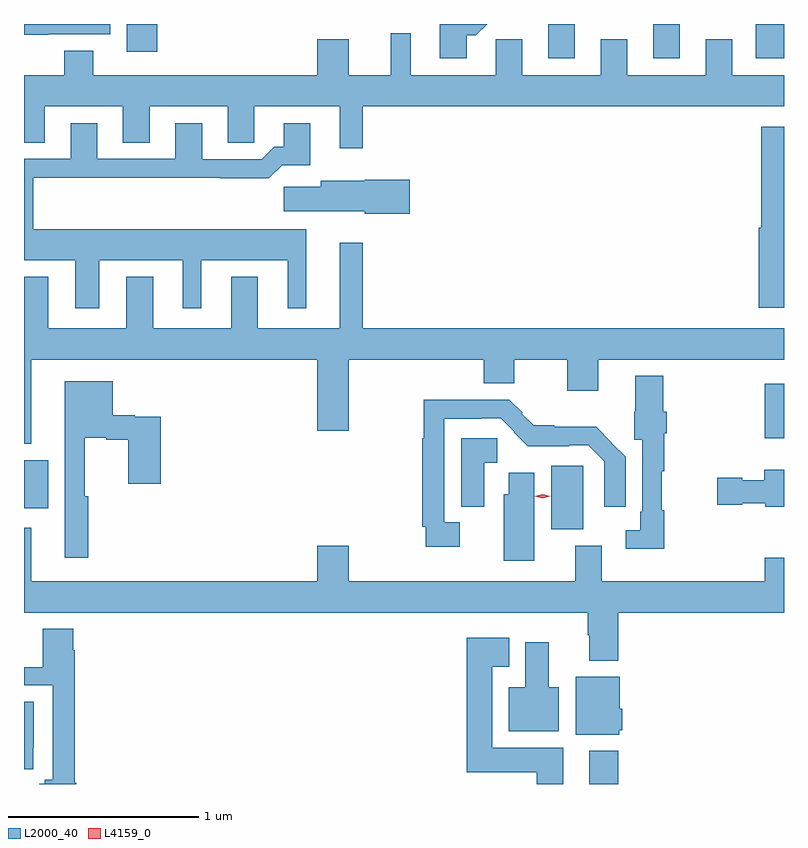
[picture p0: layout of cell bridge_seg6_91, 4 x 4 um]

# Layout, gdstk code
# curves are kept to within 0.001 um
import gdstk
lib = gdstk.Library(unit=1e-6, precision=1e-09)
def R(c, l, rs):  # rectangles x0, y0, x1, y1
    for r in rs: c.add(gdstk.rectangle(r[:2], r[2:], *l))
def P(c, l, *ps):  # polygons
    for p in ps: c.add(gdstk.Polygon(p, *l))
L2000_40 = (2000, 40)
L4159_0 = (4159, 0)

bridge_seg6_91 = lib.new_cell('bridge_seg6_91')
R(bridge_seg6_91, L2000_40, [(681.923,917.13,682.076,917.305), (681.722,918.47,681.892,918.804), (678.948,918.581,679.075,918.835), (682.847,918.95,682.948,919.237), (681.707,920.949,681.847,921.13), (682.259,920.949,682.399,921.13), (682.799,920.949,682.948,921.13), (679.49,920.985,679.649,921.13)])
P(bridge_seg6_91, L2000_40, [(679.076,921.075),(679.401,921.075),(679.401,921.13),(678.948,921.13),(678.948,921.074),(679.076,921.074)],
  [(681.277,921.071),(681.326,921.071),(681.385,921.13),(681.137,921.13),(681.137,920.949),(681.277,920.949)],
  [(680.731,920.696),(682.948,920.696),(682.948,920.86),(682.675,920.86),(682.675,921.05),(682.535,921.05),(682.535,920.86),(682.123,920.86),(682.123,921.05),(681.983,921.05),(681.983,920.86),(681.571,920.86),(681.571,921.05),(681.432,921.05),(681.432,920.86),(680.983,920.86),(680.983,921.082),(680.879,921.082),(680.879,920.86),(680.656,920.86),(680.656,921.049),(680.492,921.049),(680.492,920.86),(679.312,920.86),(679.312,920.99),(679.16,920.99),(679.16,920.86),(678.948,920.86),(678.948,920.506),(679.057,920.506),(679.057,920.696),(679.469,920.696),(679.469,920.506),(679.609,920.506),(679.609,920.696),(680.021,920.696),(680.021,920.506),(680.16,920.506),(680.16,920.696),(680.609,920.696),(680.609,920.475),(680.731,920.475)],
  [(679.345,919.886),(679.784,919.886),(679.784,919.635),(679.882,919.635),(679.882,919.886),(680.336,919.886),(680.336,919.635),(680.434,919.635),(680.434,920.05),(678.997,920.05),(678.997,920.32),(679.981,920.32),(679.981,920.318),(680.237,920.318),(680.306,920.387),(680.455,920.387),(680.455,920.608),(680.315,920.608),(680.315,920.485),(680.266,920.485),(680.199,920.418),(679.885,920.418),(679.885,920.608),(679.745,920.608),(679.745,920.421),(679.333,920.421),(679.333,920.608),(679.193,920.608),(679.193,920.421),(678.948,920.421),(678.948,919.886),(679.217,919.886),(679.217,919.635),(679.345,919.635)],
  [(682.948,920.59),(682.829,920.59),(682.829,920.058),(682.814,920.058),(682.814,919.637),(682.948,919.637)],
  [(680.977,920.31),(680.742,920.31),(680.742,920.305),(680.51,920.305),(680.51,920.273),(680.316,920.273),(680.316,920.144),(680.742,920.144),(680.742,920.132),(680.977,920.132)],
  [(678.985,919.364),(680.492,919.364),(680.492,918.99),(680.656,918.99),(680.656,919.364),(681.368,919.364),(681.368,919.238),(681.529,919.238),(681.529,919.364),(681.806,919.364),(681.806,919.2),(681.97,919.2),(681.97,919.364),(682.948,919.364),(682.948,919.528),(680.731,919.528),(680.731,919.978),(680.609,919.978),(680.609,919.528),(680.179,919.528),(680.179,919.801),(680.039,919.801),(680.039,919.528),(679.627,919.528),(679.627,919.801),(679.487,919.801),(679.487,919.528),(679.075,919.528),(679.075,919.801),(678.948,919.801),(678.948,918.92),(678.985,918.92)],
  [(682.319,918.572),(682.304,918.572),(682.304,918.775),(682.319,918.775),(682.319,918.975),(682.331,918.975),(682.331,919.089),(682.313,919.089),(682.313,919.279),(682.166,919.279),(682.166,919.089),(682.161,919.089),(682.161,918.941),(682.203,918.941),(682.203,918.562),(682.191,918.562),(682.191,918.465),(682.116,918.465),(682.116,918.368),(682.319,918.368)],
  [(679.285,918.645),(679.267,918.645),(679.267,918.953),(679.382,918.953),(679.382,918.941),(679.496,918.941),(679.496,918.711),(679.667,918.711),(679.667,919.063),(679.53,919.063),(679.53,919.071),(679.414,919.071),(679.414,919.249),(679.163,919.249),(679.163,918.321),(679.285,918.321)],
  [(681.242,918.508),(681.159,918.508),(681.159,919.052),(681.356,919.052),(681.356,919.056),(681.456,919.056),(681.528,918.984),(681.525,918.981),(681.599,918.908),(681.818,918.908),(681.818,918.912),(681.918,918.912),(682.002,918.828),(682.002,918.588),(682.114,918.588),(682.114,918.852),(681.959,919.009),(681.739,919.009),(681.739,919.017),(681.631,919.017),(681.569,919.079),(681.573,919.083),(681.503,919.153),(681.051,919.153),(681.051,918.949),(681.043,918.949),(681.043,918.484),(681.063,918.484),(681.063,918.38),(681.242,918.38)],
  [(681.37,918.821),(681.439,918.821),(681.439,918.95),(681.248,918.95),(681.248,918.589),(681.37,918.589)],
  [(682.948,918.784),(682.844,918.784),(682.844,918.73),(682.728,918.73),(682.728,918.743),(682.596,918.743),(682.596,918.601),(682.728,918.601),(682.728,918.608),(682.848,918.608),(682.848,918.59),(682.948,918.59)],
  [(681.634,918.769),(681.5,918.769),(681.5,918.654),(681.473,918.654),(681.473,918.306),(681.634,918.306)],
  [(682.076,918.032),(682.948,918.032),(682.948,918.32),(682.847,918.32),(682.847,918.196),(681.988,918.196),(681.988,918.385),(681.848,918.385),(681.848,918.196),(680.656,918.196),(680.656,918.385),(680.492,918.385),(680.492,918.196),(678.985,918.196),(678.985,918.478),(678.948,918.478),(678.948,918.032),(681.916,918.032),(681.916,917.912),(681.923,917.912),(681.923,917.78),(682.076,917.78)],
  [(679.223,917.136),(679.214,917.136),(679.214,917.834),(679.208,917.834),(679.208,917.947),(679.046,917.947),(679.046,917.745),(678.948,917.745),(678.948,917.649),(679.098,917.649),(679.098,917.152),(679.056,917.152),(679.056,917.132),(679.027,917.132),(679.027,917.13),(679.223,917.13)],
  [(681.787,917.32),(681.412,917.32),(681.412,917.747),(681.502,917.747),(681.502,917.899),(681.278,917.899),(681.278,917.192),(681.647,917.192),(681.647,917.13),(681.787,917.13)],
  [(681.763,917.638),(681.709,917.638),(681.709,917.875),(681.587,917.875),(681.587,917.638),(681.5,917.638),(681.5,917.408),(681.763,917.408)],
  [(682.08,917.412),(682.096,917.412),(682.096,917.526),(682.084,917.526),(682.084,917.695),(681.851,917.695),(681.851,917.39),(682.08,917.39)],
  [(678.997,917.32),(679,917.32),(679,917.564),(678.948,917.564),(678.948,917.208),(678.997,917.208)])
P(bridge_seg6_91, L4159_0, [(681.678,918.635),(681.636,918.644),(681.636,918.645),(681.636,918.645),(681.678,918.655),(681.719,918.645),(681.719,918.645),(681.719,918.644)])

lib.write_gds('bridge_seg6_91.gds')
